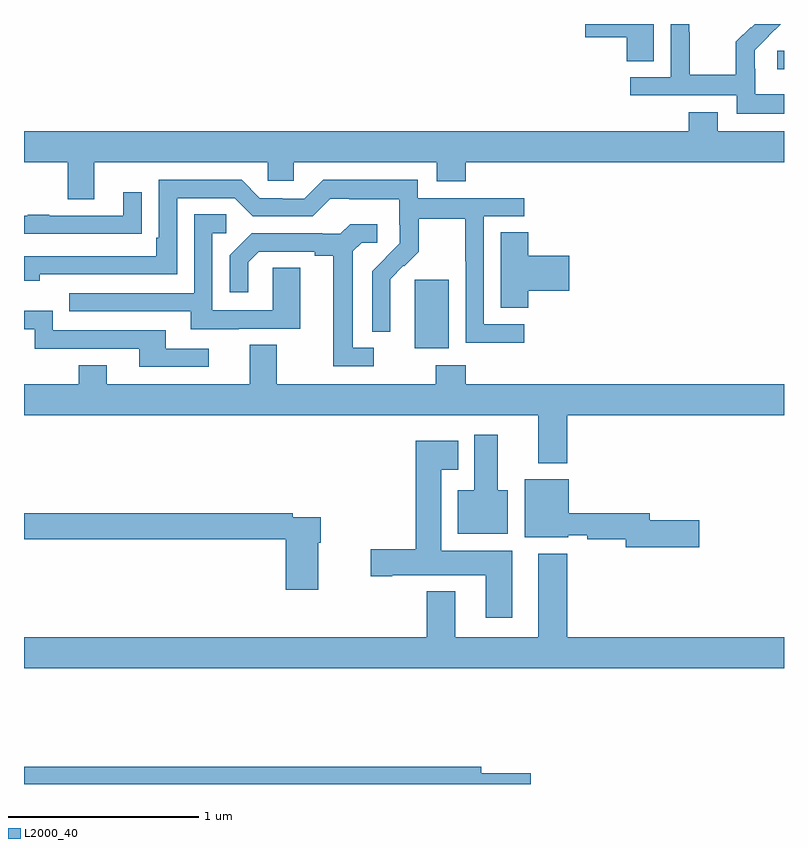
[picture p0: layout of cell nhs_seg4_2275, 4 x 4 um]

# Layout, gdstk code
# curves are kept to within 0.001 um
import gdstk
lib = gdstk.Library(unit=1e-6, precision=1e-09)
def R(c, l, rs):  # rectangles x0, y0, x1, y1
    for r in rs: c.add(gdstk.rectangle(r[:2], r[2:], *l))
def P(c, l, *ps):  # polygons
    for p in ps: c.add(gdstk.Polygon(p, *l))
L2000_40 = (2000, 40)

nhs_seg4_2275 = lib.new_cell('nhs_seg4_2275')
R(nhs_seg4_2275, L2000_40, [(231.056,777.194,231.235,777.555), (232.965,778.661,233,778.758)])
P(nhs_seg4_2275, L2000_40, [(233,778.531),(232.848,778.531),(232.848,778.665),(232.846,778.665),(232.846,778.762),(232.982,778.9),(232.846,778.9),(232.827,778.881),(232.824,778.884),(232.747,778.807),(232.747,778.633),(232.503,778.633),(232.503,778.856),(232.5,778.856),(232.5,778.9),(232.404,778.9),(232.404,778.62),(232.191,778.62),(232.191,778.524),(232.752,778.524),(232.752,778.427),(233,778.427)],
  [(232.315,778.9),(231.954,778.9),(231.954,778.829),(232.172,778.829),(232.172,778.705),(232.315,778.705)],
  [(229.369,778.172),(230.283,778.172),(230.283,778.074),(230.421,778.074),(230.421,778.172),(231.173,778.172),(231.173,778.073),(231.326,778.073),(231.326,778.172),(233,778.172),(233,778.336),(232.651,778.336),(232.651,778.435),(232.499,778.435),(232.499,778.336),(229,778.336),(229,778.172),(229.229,778.172),(229.229,777.978),(229.369,777.978)],
  [(231.634,777.321),(231.42,777.321),(231.42,777.888),(231.634,777.888),(231.634,777.984),(231.072,777.984),(231.072,778.081),(230.575,778.081),(230.475,777.981),(230.36,777.981),(230.36,777.984),(230.241,777.984),(230.145,778.08),(229.71,778.08),(229.71,777.775),(229.697,777.775),(229.697,777.678),(229,777.678),(229,777.548),(229.082,777.548),(229.082,777.582),(229.806,777.582),(229.806,777.984),(230.109,777.984),(230.205,777.888),(230.52,777.888),(230.613,777.981),(230.713,777.981),(230.713,777.977),(230.976,777.977),(230.976,777.843),(230.978,777.843),(230.978,777.746),(230.832,777.598),(230.832,777.28),(230.928,777.28),(230.927,777.557),(230.997,777.627),(231,777.624),(231.077,777.701),(231.077,777.876),(231.322,777.876),(231.322,777.652),(231.324,777.652),(231.324,777.223),(231.634,777.223)],
  [(229.517,777.796),(229.619,777.796),(229.619,778.015),(229.523,778.015),(229.523,777.891),(229.133,777.891),(229.133,777.896),(229.021,777.896),(229.021,777.891),(229,777.891),(229,777.795),(229.517,777.795)],
  [(230.131,777.297),(230.455,777.297),(230.455,777.617),(230.31,777.617),(230.31,777.393),(229.992,777.393),(229.992,777.798),(230.065,777.798),(230.065,777.899),(229.896,777.899),(229.896,777.483),(229.237,777.483),(229.237,777.387),(229.877,777.387),(229.877,777.293),(230.131,777.293)],
  [(230.842,777.195),(230.731,777.195),(230.731,777.703),(230.778,777.75),(230.86,777.75),(230.86,777.847),(230.716,777.847),(230.664,777.795),(230.57,777.795),(230.57,777.798),(230.198,777.798),(230.082,777.682),(230.082,777.489),(230.179,777.489),(230.179,777.645),(230.236,777.702),(230.531,777.702),(230.531,777.68),(230.627,777.68),(230.627,777.099),(230.842,777.099)],
  [(231.653,777.497),(231.871,777.497),(231.871,777.68),(231.653,777.68),(231.653,777.803),(231.509,777.803),(231.509,777.406),(231.653,777.406)],
  [(229.972,777.192),(229.747,777.192),(229.747,777.288),(229.152,777.288),(229.152,777.391),(229,777.391),(229,777.294),(229.056,777.294),(229.056,777.192),(229.607,777.192),(229.607,777.096),(229.972,777.096)],
  [(231.86,776.84),(233,776.84),(233,777.004),(231.326,777.004),(231.326,777.103),(231.166,777.103),(231.166,777.004),(230.329,777.004),(230.329,777.212),(230.189,777.212),(230.189,777.004),(229.435,777.004),(229.435,777.103),(229.288,777.103),(229.288,777.004),(229,777.004),(229,776.84),(231.707,776.84),(231.707,776.588),(231.86,776.588)],
  [(231.547,776.446),(231.493,776.446),(231.493,776.737),(231.371,776.737),(231.371,776.446),(231.284,776.446),(231.284,776.216),(231.547,776.216)],
  [(231.571,776.128),(231.196,776.128),(231.196,776.555),(231.286,776.555),(231.286,776.707),(231.062,776.707),(231.062,776.135),(230.826,776.135),(230.826,775.993),(230.938,775.993),(230.938,776),(231.431,776),(231.431,775.776),(231.571,775.776)],
  [(232.555,776.288),(232.294,776.288),(232.294,776.324),(231.868,776.324),(231.868,776.503),(231.635,776.503),(231.635,776.198),(231.864,776.198),(231.864,776.208),(231.964,776.208),(231.964,776.188),(232.166,776.188),(232.166,776.146),(232.555,776.146)],
  [(230.548,776.171),(230.561,776.171),(230.561,776.304),(230.414,776.304),(230.414,776.324),(229,776.324),(229,776.188),(230.378,776.188),(230.378,775.923),(230.548,775.923)],
  [(233,775.672),(231.86,775.672),(231.86,776.113),(231.707,776.113),(231.707,775.672),(231.271,775.672),(231.271,775.915),(231.119,775.915),(231.119,775.672),(229,775.672),(229,775.508),(233,775.508)],
  [(231.667,774.956),(231.406,774.956),(231.406,774.992),(229,774.992),(229,774.9),(231.667,774.9)])

lib.write_gds('nhs_seg4_2275.gds')
